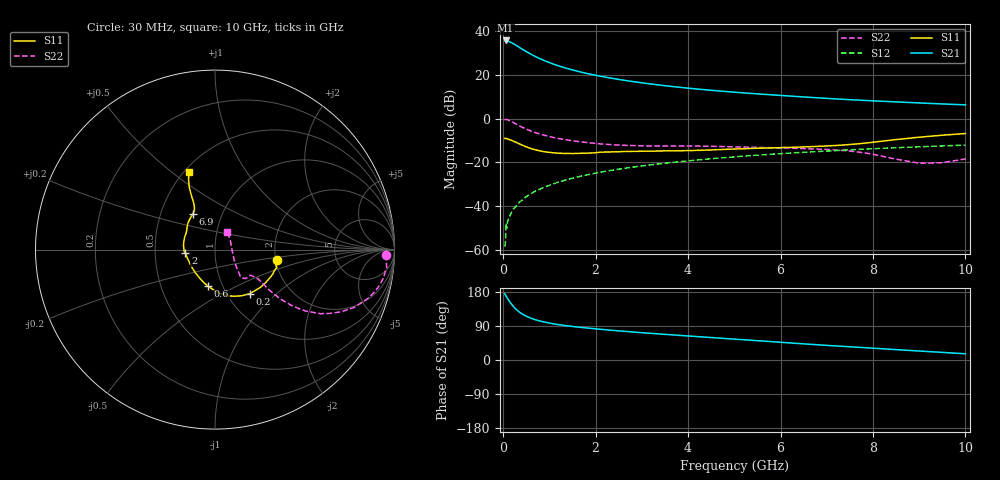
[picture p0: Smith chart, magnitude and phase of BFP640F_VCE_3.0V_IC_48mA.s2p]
! Infineon Technologies  Discrete & RF Semiconductors
! BFP640F
! VCE =  3.0 V,  IC =  48 mA
! Common Emitter S-Parameters:  Apr 2013
# GHz  S  MA  R  50
!  f  S11  S21  S12  S22
! GHz  MAG  ANG  MAG  ANG  MAG  ANG  MAG  ANG
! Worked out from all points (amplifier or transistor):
!   99 points, 30 MHz to 10 GHz, reference 50 ohm
!   highest |S21| = 35.9 dB at 50 MHz (marker M1)
!   |S21| within 3 dB of that: start of sweep to 335.9 MHz
!   unconditionally stable (mu >= 1): 1.416 GHz to end of sweep
!   at 350 MHz: K = 0.61, MSG = 35.5 dB, |S12| = -38.3 dB
!   at 3.5 GHz: K = 1.07, MAG = 16.2 dB, |S12| = -20.4 dB
!   at 10 GHz: K = 1.04, MAG = 8.0 dB, |S12| = -12.1 dB
!   S11 on the Smith chart (normalised r, x): 30 MHz: 2.05, -0.26; 200 MHz: 1.28, -0.69; 600 MHz: 0.85, -0.36; 2 GHz: 0.72, -0.03; 6.9 GHz: 0.73, +0.31; 10 GHz: 0.53, +0.58
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0.03  0.3524 -9.1  61.04 175.0  0.0012 76.1  0.9559 -1.7
0.05  0.3502 -14.3  62.09 171.2  0.0016 107.8  0.9586 -4.7
0.08  0.35 -22.4  61.51 164.9  0.0031 96.6  0.9528 -9.1
0.12  0.3367 -33.5  59.09 157.3  0.0051 82.9  0.9213 -14.5
0.15  0.3274 -40.7  57.34 152.0  0.0061 77.4  0.8925 -17.9
0.2  0.3131 -51.4  53.86 144.0  0.0082 80.0  0.8388 -22.6
0.25  0.2966 -60.3  50.29 137.2  0.0092 77.6  0.7846 -26.2
0.3  0.2804 -68.1  46.62 131.4  0.0105 76.8  0.7331 -29.0
0.4  0.2494 -81.4  39.91 122.2  0.0134 76.4  0.6437 -32.8
0.5  0.2258 -91.7  34.4 115.5  0.0164 75.8  0.5767 -35.0
0.6  0.2075 -100.6  30.04 110.3  0.0192 75.6  0.5223 -36.2
0.8  0.1825 -116.8  23.56 102.7  0.0245 75.4  0.4442 -37.0
1  0.1693 -130.4  19.25 97.4  0.0299 74.9  0.3903 -36.8
1.3  0.1604 -147.4  15.02 91.6  0.0379 74.3  0.3365 -35.6
1.7  0.1614 -164.1  11.59 85.8  0.0486 72.8  0.2933 -34.3
2  0.1659 -173.5  9.889 82.3  0.0567 71.5  0.272 -34.3
3.4  0.1822 158.4  5.876 68.5  0.0931 64.2  0.237 -39.3
5.1  0.2038 139.1  3.978 54.3  0.1359 55.0  0.2252 -45.2
6.7  0.2297 123.9  3.059 41.0  0.1744 45.6  0.2028 -46.5
6.9  0.2354 121.7  2.967 39.4  0.1791 44.5  0.1991 -45.9
8.5  0.3323 113.5  2.426 27.4  0.2164 35.1  0.1184 -26.8
10  0.4569 108.4  2.077 16.4  0.2488 26.3  0.1195 54.5
